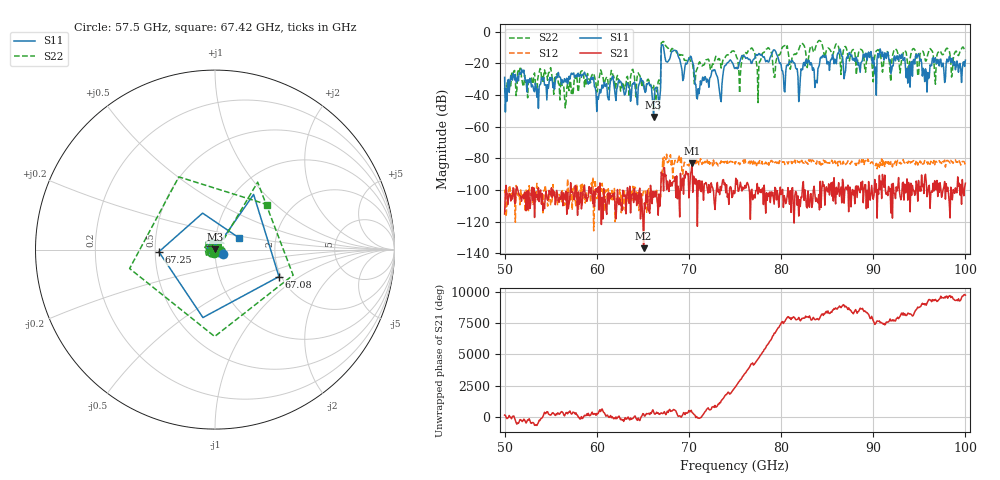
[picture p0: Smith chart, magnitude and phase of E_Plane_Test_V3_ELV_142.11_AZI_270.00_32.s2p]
! 11/26/2026 4:20:45 PM
! C:\ANRITSUVNA\TEMP\TEMP.S2P
! CHANNEL.1
! TR.MEASUREMENT
! RAW.DATA
# HZ S RI R 50.0
! FREQ.HZ  S11RE  S11IM  S21RE  S21IM  S12RE  S12IM  S22RE  S22IM
!; PortSelection: Port_12
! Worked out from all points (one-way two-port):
!   601 points, 50 GHz to 100 GHz, reference 50 ohm
!   highest |S21| = -83.14 dB at 70.33 GHz (marker M1); lowest = -137.0 dB at 65.08 GHz (marker M2)
!   lowest |S11| = -53.9 dB at 66.17 GHz (marker M3), VSWR 1.00, Z = 50.1 + j0.146 ohm
!   |S11| at or under -10 dB: start of sweep to 67 GHz; 67.25 GHz to end of sweep
!   |S22| runs from -48.2 to -5.6 dB; largest |S21 - S12| = 0.00014
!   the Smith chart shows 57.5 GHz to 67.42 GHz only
!   S11 on the Smith chart (normalised r, x): 57.5 GHz: 1.09, -0.05; 67.08 GHz: 1.95, -0.69; 67.25 GHz: 0.52, -0.01; 67.42 GHz: 1.29, +0.17
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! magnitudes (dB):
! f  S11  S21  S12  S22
! 50 GHz  -28.9  -115.3  -102.1  -35.6
! 51.67 GHz  -26.3  -103.7  -109.4  -23.2
! 57.5 GHz  -26.1  -105.9  -100.3  -34.6
! 58.42 GHz  -27.1  -108.9  -96.4  -24.7
! 60.17 GHz  -42.7  -98.1  -103.0  -30.4
! 65.08 GHz  -33.0  -137.0  -100.3  -31.9
! 66.17 GHz  -53.9  -104.6  -104.1  -34.0
! 66.67 GHz  -41.5  -116.0  -113.3  -31.6
! 67.08 GHz  -8.3  -90.4  -91.5  -6.8
! 67.25 GHz  -10.1  -100.7  -87.1  -6.2
! 67.42 GHz  -16.6  -91.5  -80.1  -8.3
! 70.33 GHz  -18.4  -83.1  -82.7  -19.2
! 70.92 GHz  -42.5  -123.0  -82.7  -23.2
! 75 GHz  -23.3  -101.9  -83.6  -13.0
! 79.25 GHz  -11.5  -109.0  -83.1  -28.9
! 80.25 GHz  -27.8  -111.1  -82.3  -9.3
! 83.42 GHz  -24.5  -108.7  -81.1  -10.8
! 91.67 GHz  -16.7  -97.9  -83.7  -15.2
! 93.75 GHz  -32.6  -106.5  -83.2  -21.3
! 94.83 GHz  -15.1  -107.1  -84.3  -27.9
! 95.83 GHz  -38.2  -104.3  -82.5  -16.5
! 100 GHz  -18.0  -95.8  -84.7  -12.6
